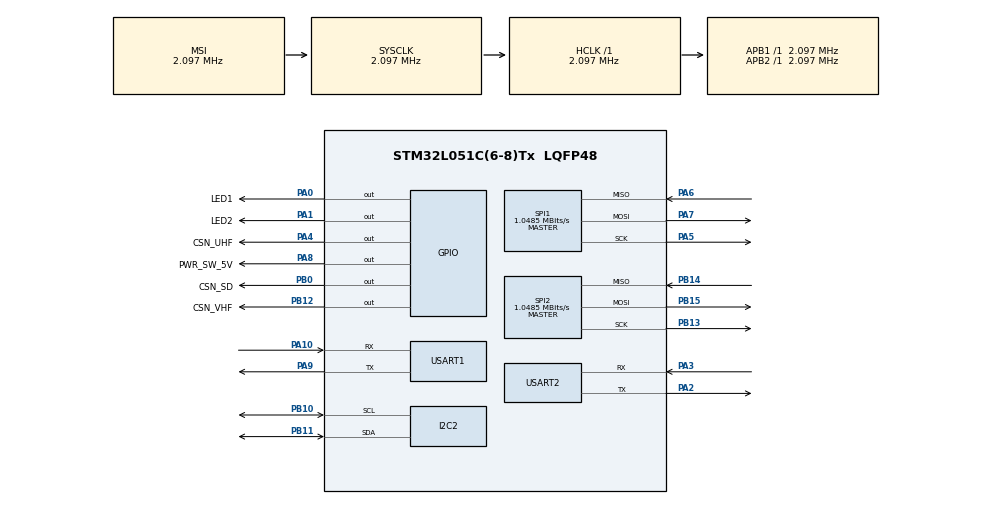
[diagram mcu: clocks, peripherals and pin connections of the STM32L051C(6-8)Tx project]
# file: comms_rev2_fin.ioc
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FREERTOS.Tasks01=defaultTask,0,128,StartDefaultTask,Default,NULL,Dynamic,NULL,NULL
Mcu.Family=STM32L0
Mcu.Name=STM32L051C(6-8)Tx
Mcu.Package=LQFP48
NVIC.TIM6_DAC_IRQn=true\:0\:0\:false\:false\:true\:false\:false\:true
NVIC.TimeBase=TIM6_DAC_IRQn
NVIC.TimeBaseIP=TIM6
PA0.GPIO_Label=LED1
PA0.Signal=GPIO_Output
PA1.GPIO_Label=LED2
PA1.Signal=GPIO_Output
PA10.Mode=Asynchronous
PA10.Signal=USART1_RX
PA13.Mode=Serial_Wire
PA13.Signal=SYS_SWDIO
PA14.Mode=Serial_Wire
PA14.Signal=SYS_SWCLK
PA2.Mode=Asynchronous
PA2.Signal=USART2_TX
PA3.Mode=Asynchronous
PA3.Signal=USART2_RX
PA4.GPIO_Label=CSN_UHF
PA4.Signal=GPIO_Output
PA5.Mode=Full_Duplex_Master
PA5.Signal=SPI1_SCK
PA6.Mode=Full_Duplex_Master
PA6.Signal=SPI1_MISO
PA7.Mode=Full_Duplex_Master
PA7.Signal=SPI1_MOSI
PA8.GPIO_Label=PWR_SW_5V
PA8.Signal=GPIO_Output
PA9.Mode=Asynchronous
PA9.Signal=USART1_TX
PB0.GPIO_Label=CSN_SD
PB0.Signal=GPIO_Output
PB10.Mode=I2C
PB10.Signal=I2C2_SCL
PB11.Mode=I2C
PB11.Signal=I2C2_SDA
PB12.GPIO_Label=CSN_VHF
PB12.Signal=GPIO_Output
PB13.Mode=Full_Duplex_Master
PB13.Signal=SPI2_SCK
PB14.Mode=Full_Duplex_Master
PB14.Signal=SPI2_MISO
PB15.Mode=Full_Duplex_Master
PB15.Signal=SPI2_MOSI
ProjectManager.HeapSize=0x200
ProjectManager.StackSize=0x400
ProjectManager.TargetToolchain=STM32CubeIDE
RCC.AHBFreq_Value=2097000
RCC.APB1Freq_Value=2097000
RCC.APB1TimFreq_Value=2097000
RCC.APB2Freq_Value=2097000
RCC.APB2TimFreq_Value=2097000
RCC.HSE_VALUE=8000000
RCC.HSI16_VALUE=16000000
RCC.HSI_VALUE=16000000
RCC.LSE_VALUE=32768
RCC.MSI_VALUE=2097000
RCC.SYSCLKFreq_VALUE=2097000
RCC.VCOOutputFreq_Value=48000000
SPI1.CalculateBaudRate=1.0485 MBits/s
SPI1.Direction=SPI_DIRECTION_2LINES
SPI1.Mode=SPI_MODE_MASTER
SPI1.VirtualType=VM_MASTER
SPI2.CalculateBaudRate=1.0485 MBits/s
SPI2.Direction=SPI_DIRECTION_2LINES
SPI2.Mode=SPI_MODE_MASTER
SPI2.VirtualType=VM_MASTER
USART1.VirtualMode-Asynchronous=VM_ASYNC
USART2.VirtualMode-Asynchronous=VM_ASYNC
VP_FREERTOS_VS_CMSIS_V1.Mode=CMSIS_V1
VP_SYS_VS_tim6.Mode=TIM6
board=custom

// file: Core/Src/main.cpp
/* USER CODE BEGIN Header */
/**
  ******************************************************************************
  * @file           : main.c
  * @brief          : Main program body
  ******************************************************************************
  * @attention
  *
  * <h2><center>&copy; Copyright (c) 2020 STMicroelectronics.
  * All rights reserved.</center></h2>
  *
  * This software component is licensed by ST under Ultimate Liberty license
  * SLA0044, the "License"; You may not use this file except in compliance with
  * the License. You may obtain a copy of the License at:
  *                             www.st.com/SLA0044
  *
  ******************************************************************************
  */
/* USER CODE END Header */

#include "main.h"
#include "cmsis_os.h"

#include "peripherals/TMP461.h"
#include "peripherals/INA233.h"

I2C_HandleTypeDef hi2c2;

SPI_HandleTypeDef hspi1;
SPI_HandleTypeDef hspi2;

UART_HandleTypeDef huart1;
UART_HandleTypeDef huart2;

osThreadId defaultTaskHandle;
/* USER CODE BEGIN PV */

TMP461 pa_temp = TMP461(hi2c2, 0x48);
TMP461 lna_temp = TMP461(hi2c2, 0x49);

INA233 mon_3v3 = INA233(hi2c2, 0x44);
INA233 mon_cc1125 = INA233(hi2c2, 0x45);
INA233 mon_5v0 = INA233(hi2c2, 0x46);

/* USER CODE END PV */

void SystemClock_Config(void);
static void MX_GPIO_Init(void);
static void MX_I2C2_Init(void);
static void MX_SPI1_Init(void);
static void MX_SPI2_Init(void);
static void MX_USART1_UART_Init(void);
static void MX_USART2_UART_Init(void);
void StartDefaultTask(void const * argument);

int main(void)
{

  /* MCU Configuration--------------------------------------------------------*/

  /* Reset of all peripherals, Initializes the Flash interface and the Systick. */
  HAL_Init();

  /* Configure the system clock */
  SystemClock_Config();

  /* Initialize all configured peripherals */
  MX_GPIO_Init();
  MX_I2C2_Init();
  MX_SPI1_Init();
  MX_SPI2_Init();
  MX_USART1_UART_Init();
  MX_USART2_UART_Init();

  /* Create the thread(s) */
  /* definition and creation of defaultTask */
  osThreadDef(defaultTask, StartDefaultTask, osPriorityNormal, 0, 128);
  defaultTaskHandle = osThreadCreate(osThread(defaultTask), NULL);

  /* Start scheduler */
  osKernelStart();

  /* We should never get here as control is now taken by the scheduler */

  /* Infinite loop */
  while (1)
  {

  }
}

void SystemClock_Config(void)
{
  RCC_OscInitTypeDef RCC_OscInitStruct = {0};
  RCC_ClkInitTypeDef RCC_ClkInitStruct = {0};
  RCC_PeriphCLKInitTypeDef PeriphClkInit = {0};

  /** Configure the main internal regulator output voltage
  */
  __HAL_PWR_VOLTAGESCALING_CONFIG(PWR_REGULATOR_VOLTAGE_SCALE1);
  /** Initializes the CPU, AHB and APB busses clocks
  */
  RCC_OscInitStruct.OscillatorType = RCC_OSCILLATORTYPE_MSI;
  RCC_OscInitStruct.MSIState = RCC_MSI_ON;
  RCC_OscInitStruct.MSICalibrationValue = 0;
  RCC_OscInitStruct.MSIClockRange = RCC_MSIRANGE_5;
  RCC_OscInitStruct.PLL.PLLState = RCC_PLL_NONE;
  if (HAL_RCC_OscConfig(&RCC_OscInitStruct) != HAL_OK)
  {
    Error_Handler();
  }
  /** Initializes the CPU, AHB and APB busses clocks
  */
  RCC_ClkInitStruct.ClockType = RCC_CLOCKTYPE_HCLK|RCC_CLOCKTYPE_SYSCLK
                              |RCC_CLOCKTYPE_PCLK1|RCC_CLOCKTYPE_PCLK2;
  RCC_ClkInitStruct.SYSCLKSource = RCC_SYSCLKSOURCE_MSI;
  RCC_ClkInitStruct.AHBCLKDivider = RCC_SYSCLK_DIV1;
  RCC_ClkInitStruct.APB1CLKDivider = RCC_HCLK_DIV1;
  RCC_ClkInitStruct.APB2CLKDivider = RCC_HCLK_DIV1;

  if (HAL_RCC_ClockConfig(&RCC_ClkInitStruct, FLASH_LATENCY_0) != HAL_OK)
  {
    Error_Handler();
  }
  PeriphClkInit.PeriphClockSelection = RCC_PERIPHCLK_USART1|RCC_PERIPHCLK_USART2;
  PeriphClkInit.Usart1ClockSelection = RCC_USART1CLKSOURCE_PCLK2;
  PeriphClkInit.Usart2ClockSelection = RCC_USART2CLKSOURCE_PCLK1;
  if (HAL_RCCEx_PeriphCLKConfig(&PeriphClkInit) != HAL_OK)
  {
    Error_Handler();
  }
}

static void MX_I2C2_Init(void)
{

  hi2c2.Instance = I2C2;
  hi2c2.Init.Timing = 0x00000708;
  hi2c2.Init.OwnAddress1 = 0;
  hi2c2.Init.AddressingMode = I2C_ADDRESSINGMODE_7BIT;
  hi2c2.Init.DualAddressMode = I2C_DUALADDRESS_DISABLE;
  hi2c2.Init.OwnAddress2 = 0;
  hi2c2.Init.OwnAddress2Masks = I2C_OA2_NOMASK;
  hi2c2.Init.GeneralCallMode = I2C_GENERALCALL_DISABLE;
  hi2c2.Init.NoStretchMode = I2C_NOSTRETCH_DISABLE;
  if (HAL_I2C_Init(&hi2c2) != HAL_OK)
  {
    Error_Handler();
  }
  /** Configure Analogue filter
  */
  if (HAL_I2CEx_ConfigAnalogFilter(&hi2c2, I2C_ANALOGFILTER_ENABLE) != HAL_OK)
  {
    Error_Handler();
  }
  /** Configure Digital filter
  */
  if (HAL_I2CEx_ConfigDigitalFilter(&hi2c2, 0) != HAL_OK)
  {
    Error_Handler();
  }

}

static void MX_SPI1_Init(void)
{

  /* SPI1 parameter configuration*/
  hspi1.Instance = SPI1;
  hspi1.Init.Mode = SPI_MODE_MASTER;
  hspi1.Init.Direction = SPI_DIRECTION_2LINES;
  hspi1.Init.DataSize = SPI_DATASIZE_8BIT;
  hspi1.Init.CLKPolarity = SPI_POLARITY_LOW;
  hspi1.Init.CLKPhase = SPI_PHASE_1EDGE;
  hspi1.Init.NSS = SPI_NSS_SOFT;
  hspi1.Init.BaudRatePrescaler = SPI_BAUDRATEPRESCALER_2;
  hspi1.Init.FirstBit = SPI_FIRSTBIT_MSB;
  hspi1.Init.TIMode = SPI_TIMODE_DISABLE;
  hspi1.Init.CRCCalculation = SPI_CRCCALCULATION_DISABLE;
  hspi1.Init.CRCPolynomial = 7;
  if (HAL_SPI_Init(&hspi1) != HAL_OK)
  {
    Error_Handler();
  }

}

static void MX_SPI2_Init(void)
{

  /* SPI2 parameter configuration*/
  hspi2.Instance = SPI2;
  hspi2.Init.Mode = SPI_MODE_MASTER;
  hspi2.Init.Direction = SPI_DIRECTION_2LINES;
  hspi2.Init.DataSize = SPI_DATASIZE_8BIT;
  hspi2.Init.CLKPolarity = SPI_POLARITY_LOW;
  hspi2.Init.CLKPhase = SPI_PHASE_1EDGE;
  hspi2.Init.NSS = SPI_NSS_SOFT;
  hspi2.Init.BaudRatePrescaler = SPI_BAUDRATEPRESCALER_2;
  hspi2.Init.FirstBit = SPI_FIRSTBIT_MSB;
  hspi2.Init.TIMode = SPI_TIMODE_DISABLE;
  hspi2.Init.CRCCalculation = SPI_CRCCALCULATION_DISABLE;
  hspi2.Init.CRCPolynomial = 7;
  if (HAL_SPI_Init(&hspi2) != HAL_OK)
  {
    Error_Handler();
  }

}

static void MX_USART1_UART_Init(void)
{

  huart1.Instance = USART1;
  huart1.Init.BaudRate = 115200;
  huart1.Init.WordLength = UART_WORDLENGTH_8B;
  huart1.Init.StopBits = UART_STOPBITS_1;
  huart1.Init.Parity = UART_PARITY_NONE;
  huart1.Init.Mode = UART_MODE_TX_RX;
  huart1.Init.HwFlowCtl = UART_HWCONTROL_NONE;
  huart1.Init.OverSampling = UART_OVERSAMPLING_16;
  huart1.Init.OneBitSampling = UART_ONE_BIT_SAMPLE_DISABLE;
  huart1.AdvancedInit.AdvFeatureInit = UART_ADVFEATURE_NO_INIT;
  if (HAL_UART_Init(&huart1) != HAL_OK)
  {
    Error_Handler();
  }

}

static void MX_USART2_UART_Init(void)
{

  huart2.Instance = USART2;
  huart2.Init.BaudRate = 115200;
  huart2.Init.WordLength = UART_WORDLENGTH_8B;
  huart2.Init.StopBits = UART_STOPBITS_1;
  huart2.Init.Parity = UART_PARITY_NONE;
  huart2.Init.Mode = UART_MODE_TX_RX;
  huart2.Init.HwFlowCtl = UART_HWCONTROL_NONE;
  huart2.Init.OverSampling = UART_OVERSAMPLING_16;
  huart2.Init.OneBitSampling = UART_ONE_BIT_SAMPLE_DISABLE;
  huart2.AdvancedInit.AdvFeatureInit = UART_ADVFEATURE_NO_INIT;
  if (HAL_UART_Init(&huart2) != HAL_OK)
  {
    Error_Handler();
  }

}

static void MX_GPIO_Init(void)
{
  GPIO_InitTypeDef GPIO_InitStruct = {0};

  /* GPIO Ports Clock Enable */
  __HAL_RCC_GPIOA_CLK_ENABLE();
  __HAL_RCC_GPIOB_CLK_ENABLE();

  /*Configure GPIO pin Output Level */
  HAL_GPIO_WritePin(GPIOA, LED1_Pin|LED2_Pin|CSN_UHF_Pin|PWR_SW_5V_Pin, GPIO_PIN_RESET);

  /*Configure GPIO pin Output Level */
  HAL_GPIO_WritePin(GPIOB, CSN_SD_Pin|CSN_VHF_Pin, GPIO_PIN_RESET);

  /*Configure GPIO pins : LED1_Pin LED2_Pin CSN_UHF_Pin PWR_SW_5V_Pin */
  GPIO_InitStruct.Pin = LED1_Pin|LED2_Pin|CSN_UHF_Pin|PWR_SW_5V_Pin;
  GPIO_InitStruct.Mode = GPIO_MODE_OUTPUT_PP;
  GPIO_InitStruct.Pull = GPIO_NOPULL;
  GPIO_InitStruct.Speed = GPIO_SPEED_FREQ_LOW;
  HAL_GPIO_Init(GPIOA, &GPIO_InitStruct);

  /*Configure GPIO pins : CSN_SD_Pin CSN_VHF_Pin */
  GPIO_InitStruct.Pin = CSN_SD_Pin|CSN_VHF_Pin;
  GPIO_InitStruct.Mode = GPIO_MODE_OUTPUT_PP;
  GPIO_InitStruct.Pull = GPIO_NOPULL;
  GPIO_InitStruct.Speed = GPIO_SPEED_FREQ_LOW;
  HAL_GPIO_Init(GPIOB, &GPIO_InitStruct);

}

void StartDefaultTask(void const * argument)
{
  /* USER CODE BEGIN 5 */
  /* Infinite loop */
	HAL_GPIO_WritePin(GPIOA, LED1_Pin, GPIO_PIN_SET);
	HAL_GPIO_WritePin(GPIOA, LED2_Pin, GPIO_PIN_RESET);
	for(;;)
	{
		osDelay(50);
		HAL_GPIO_TogglePin(GPIOA, LED1_Pin);
		HAL_GPIO_TogglePin(GPIOA, LED2_Pin);

		pa_temp.readTemp();
		lna_temp.readTemp();

		mon_3v3.readCurrent();
		mon_cc1125.readCurrent();
		mon_5v0.readCurrent();
	}
  /* USER CODE END 5 */
}

void HAL_TIM_PeriodElapsedCallback(TIM_HandleTypeDef *htim)
{
  if (htim->Instance == TIM6) {
    HAL_IncTick();
  }
}

void Error_Handler(void)
{
}

/************************ (C) COPYRIGHT STMicroelectronics *****END OF FILE****/
